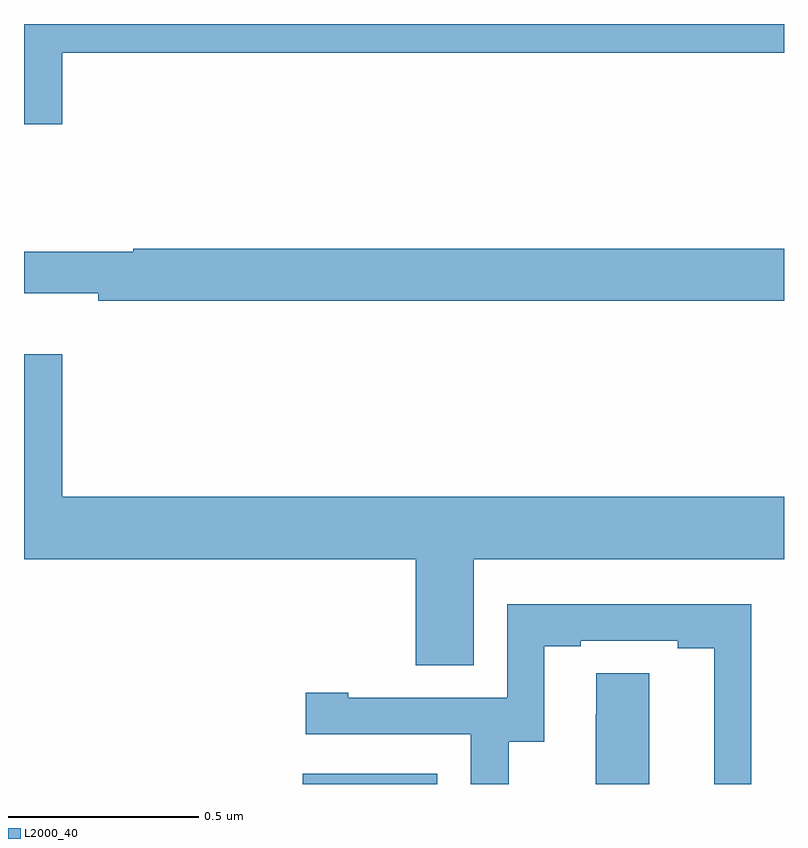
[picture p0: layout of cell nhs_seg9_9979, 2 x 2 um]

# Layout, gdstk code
import gdstk
lib = gdstk.Library(unit=1e-6, precision=1e-09)
def R(c, l, rs):  # rectangles x0, y0, x1, y1
    for r in rs: c.add(gdstk.rectangle(r[:2], r[2:], *l))
def P(c, l, *ps):  # polygons
    for p in ps: c.add(gdstk.Polygon(p, *l))
L2000_40 = (2000, 40)

nhs_seg9_9979 = lib.new_cell('nhs_seg9_9979')
R(nhs_seg9_9979, L2000_40, [(237.734,1190.5,238.087,1190.527)])
P(nhs_seg9_9979, L2000_40, [(237.1,1192.424),(239,1192.424),(239,1192.5),(237,1192.5),(237,1192.236),(237.1,1192.236)],
  [(239,1191.908),(237.287,1191.908),(237.287,1191.901),(237,1191.901),(237,1191.791),(237.196,1191.791),(237.196,1191.772),(239,1191.772)],
  [(238.183,1191.092),(239,1191.092),(239,1191.256),(237.1,1191.256),(237.1,1191.631),(237,1191.631),(237,1191.092),(238.031,1191.092),(238.031,1190.812),(238.183,1190.812)],
  [(238.275,1190.611),(238.369,1190.611),(238.369,1190.862),(238.465,1190.862),(238.465,1190.877),(238.721,1190.877),(238.721,1190.857),(238.817,1190.857),(238.817,1190.5),(238.914,1190.5),(238.914,1190.973),(238.272,1190.973),(238.272,1190.727),(237.853,1190.727),(237.853,1190.74),(237.741,1190.74),(237.741,1190.631),(238.176,1190.631),(238.176,1190.5),(238.275,1190.5)],
  [(238.645,1190.792),(238.506,1190.792),(238.506,1190.684),(238.505,1190.684),(238.505,1190.5),(238.645,1190.5)])

lib.write_gds('nhs_seg9_9979.gds')
